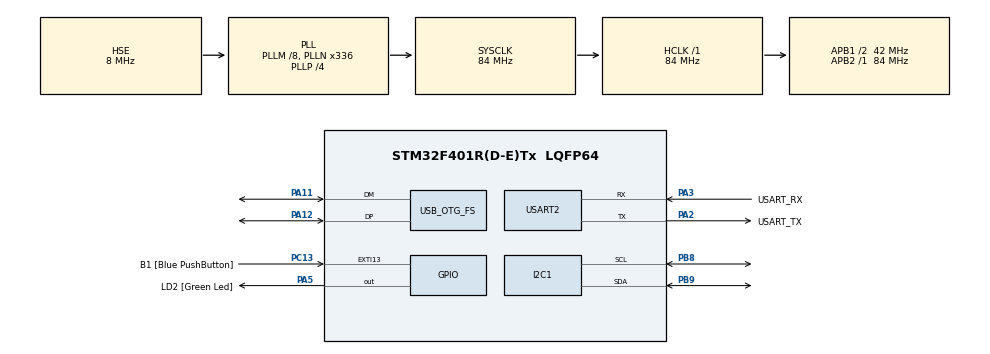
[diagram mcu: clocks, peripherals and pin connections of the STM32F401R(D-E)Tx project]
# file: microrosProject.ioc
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Dma.Request0=USART2_RX
Dma.Request1=USART2_TX
Dma.USART2_RX.0.Direction=DMA_PERIPH_TO_MEMORY
Dma.USART2_RX.0.FIFOMode=DMA_FIFOMODE_DISABLE
Dma.USART2_RX.0.Instance=DMA1_Stream5
Dma.USART2_RX.0.MemDataAlignment=DMA_MDATAALIGN_BYTE
Dma.USART2_RX.0.MemInc=DMA_MINC_ENABLE
Dma.USART2_RX.0.Mode=DMA_CIRCULAR
Dma.USART2_RX.0.PeriphDataAlignment=DMA_PDATAALIGN_BYTE
Dma.USART2_RX.0.PeriphInc=DMA_PINC_DISABLE
Dma.USART2_RX.0.Priority=DMA_PRIORITY_VERY_HIGH
Dma.USART2_TX.1.Direction=DMA_MEMORY_TO_PERIPH
Dma.USART2_TX.1.FIFOMode=DMA_FIFOMODE_DISABLE
Dma.USART2_TX.1.Instance=DMA1_Stream6
Dma.USART2_TX.1.MemDataAlignment=DMA_MDATAALIGN_BYTE
Dma.USART2_TX.1.MemInc=DMA_MINC_ENABLE
Dma.USART2_TX.1.Mode=DMA_NORMAL
Dma.USART2_TX.1.PeriphDataAlignment=DMA_PDATAALIGN_BYTE
Dma.USART2_TX.1.PeriphInc=DMA_PINC_DISABLE
Dma.USART2_TX.1.Priority=DMA_PRIORITY_VERY_HIGH
FREERTOS.Tasks01=defaultTask,24,128,StartDefaultTask,Default,NULL,Static,defaultTaskBuffer,defaultTaskControlBlock
FREERTOS.configCHECK_FOR_STACK_OVERFLOW=2
FREERTOS.configTOTAL_HEAP_SIZE=25000
FREERTOS.configUSE_MALLOC_FAILED_HOOK=1
Mcu.Family=STM32F4
Mcu.Name=STM32F401R(D-E)Tx
Mcu.Package=LQFP64
NVIC.DMA1_Stream5_IRQn=true\:5\:0\:false\:false\:true\:true\:false\:true\:true
NVIC.DMA1_Stream6_IRQn=true\:5\:0\:false\:false\:true\:true\:false\:true\:true
NVIC.PriorityGroup=NVIC_PRIORITYGROUP_4
NVIC.TIM1_UP_TIM10_IRQn=true\:15\:0\:false\:false\:true\:false\:false\:true\:true
NVIC.TimeBase=TIM1_UP_TIM10_IRQn
NVIC.TimeBaseIP=TIM1
NVIC.USART2_IRQn=true\:5\:0\:false\:false\:true\:true\:true\:true\:true
PA11.Mode=Device_Only
PA11.Signal=USB_OTG_FS_DM
PA12.Mode=Device_Only
PA12.Signal=USB_OTG_FS_DP
PA13.GPIO_Label=TMS
PA13.Mode=Serial_Wire
PA13.Signal=SYS_JTMS-SWDIO
PA14.GPIO_Label=TCK
PA14.Mode=Serial_Wire
PA14.Signal=SYS_JTCK-SWCLK
PA2.GPIO_Label=USART_TX
PA2.GPIO_Mode=GPIO_MODE_AF_PP
PA2.GPIO_PuPd=GPIO_NOPULL
PA2.GPIO_Speed=GPIO_SPEED_FREQ_LOW
PA2.Mode=Asynchronous
PA2.Signal=USART2_TX
PA3.GPIO_Label=USART_RX
PA3.GPIO_Mode=GPIO_MODE_AF_PP
PA3.GPIO_PuPd=GPIO_NOPULL
PA3.GPIO_Speed=GPIO_SPEED_FREQ_LOW
PA3.Mode=Asynchronous
PA3.Signal=USART2_RX
PA5.GPIO_Label=LD2 [Green Led]
PA5.GPIO_Mode=GPIO_MODE_OUTPUT_PP
PA5.GPIO_PuPd=GPIO_NOPULL
PA5.GPIO_Speed=GPIO_SPEED_FREQ_LOW
PA5.Signal=GPIO_Output
PB3.GPIO_Label=SWO
PB3.Signal=SYS_JTDO-SWO
PB8.Mode=I2C
PB8.Signal=I2C1_SCL
PB9.Mode=I2C
PB9.Signal=I2C1_SDA
PC13-ANTI_TAMP.GPIO_Label=B1 [Blue PushButton]
PC13-ANTI_TAMP.GPIO_ModeDefaultEXTI=GPIO_MODE_IT_FALLING
PC13-ANTI_TAMP.GPIO_PuPd=GPIO_NOPULL
PC13-ANTI_TAMP.Signal=GPXTI13
PC14-OSC32_IN.Mode=LSE-External-Oscillator
PC14-OSC32_IN.Signal=RCC_OSC32_IN
PC15-OSC32_OUT.Mode=LSE-External-Oscillator
PC15-OSC32_OUT.Signal=RCC_OSC32_OUT
PH0\ -\ OSC_IN.Mode=HSE-External-Oscillator
PH0\ -\ OSC_IN.Signal=RCC_OSC_IN
PH1\ -\ OSC_OUT.Mode=HSE-External-Oscillator
PH1\ -\ OSC_OUT.Signal=RCC_OSC_OUT
ProjectManager.HeapSize=0x200
ProjectManager.StackSize=0x400
ProjectManager.TargetToolchain=STM32CubeIDE
RCC.48MHZClocksFreq_Value=48000000
RCC.AHBFreq_Value=84000000
RCC.APB1CLKDivider=RCC_HCLK_DIV2
RCC.APB1Freq_Value=42000000
RCC.APB1TimFreq_Value=84000000
RCC.APB2Freq_Value=84000000
RCC.APB2TimFreq_Value=84000000
RCC.CortexFreq_Value=84000000
RCC.HCLKFreq_Value=84000000
RCC.HSE_VALUE=8000000
RCC.HSI_VALUE=16000000
RCC.PLLM=8
RCC.PLLN=336
RCC.PLLP=RCC_PLLP_DIV4
RCC.PLLQ=7
RCC.SYSCLKFreq_VALUE=84000000
RCC.SYSCLKSource=RCC_SYSCLKSOURCE_PLLCLK
RCC.VCOOutputFreq_Value=336000000
USART2.VirtualMode=VM_ASYNC
USB_OTG_FS.VirtualMode=Device_Only
VP_FREERTOS_VS_CMSIS_V2.Mode=CMSIS_V2
VP_SYS_VS_tim1.Mode=TIM1
board=NUCLEO-F401RE

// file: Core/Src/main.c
/* USER CODE BEGIN Header */
/**
  ****************************************************************************
  * @file           : main.c
  * @brief          : Nucleo-F401RE / micro-ROS serie sur USART2 (VCP ST-Link)
  *
  * Ce fichier ne contient AUCUNE logique micro-ROS ni aucune definition de
  * tache. Tout cela vit dans Core/Src/freertos.c, conformement a la
  * generation CubeMX "FreeRTOS dans des fichiers separes".
  *
  * REGENERATION .ioc : ce fichier est deja 100% stock CubeMX (aucun code
  * personnalise en dehors des balises "USER CODE BEGIN/END"). On peut donc
  * regenerer depuis le .ioc sans crainte : SystemClock_Config(),
  * MX_USART2_UART_Init(), MX_DMA_Init() et MX_GPIO_Init() sont recrees a
  * l'identique par CubeMX a partir de la configuration du projet, et les
  * blocs USER CODE (actuellement vides ici) sont toujours preserves.
  *
  * Fichiers fournis par micro_ros_stm32cubemx_utils/extra_sources, deja
  * presents dans Core/Src et A NE PAS redupliquer ici :
  *   - dma_transport.c        -> cubemx_transport_open/close/write/read
  *   - microros_allocators.c  -> microros_allocate/deallocate/...
  *   - microros_time.c        -> clock_gettime
  *   - custom_memory_manager.c
  ****************************************************************************
  */
/* USER CODE END Header */
#include "main.h"
#include "cmsis_os.h"
#include "dma.h"
#include "i2c.h"
#include "usart.h"
#include "usb_otg.h"
#include "gpio.h"

/* USER CODE BEGIN Includes */
/* Aucun include supplementaire necessaire ici : la logique applicative et
 * micro-ROS est entierement dans freertos.c. Garder ce fichier minimal. */
/* USER CODE END Includes */

/* USER CODE BEGIN PV */
/* Rien ici volontairement : huart2 est deja extern-declare et utilise
 * directement dans freertos.c (rmw_uros_set_custom_transport). */
/* USER CODE END PV */

void SystemClock_Config(void);
void MX_FREERTOS_Init(void);

int main(void)
{

  /* MCU Configuration--------------------------------------------------------*/

  /* Reset of all peripherals, Initializes the Flash interface and the Systick. */
  HAL_Init();

  /* Configure the system clock */
  SystemClock_Config();

  /* Initialize all configured peripherals */
  MX_GPIO_Init();
  MX_DMA_Init();
  MX_USART2_UART_Init();
  MX_USB_OTG_FS_PCD_Init();
  MX_I2C1_Init();

  /* Init scheduler */
  osKernelInitialize();

  /* Call init function for freertos objects (in cmsis_os2.c) */
  MX_FREERTOS_Init();

  /* Start scheduler */
  osKernelStart();

  /* We should never get here as control is now taken by the scheduler */

  /* Infinite loop */
  while (1)
  {

  }
}

void SystemClock_Config(void)
{
  RCC_OscInitTypeDef RCC_OscInitStruct = {0};
  RCC_ClkInitTypeDef RCC_ClkInitStruct = {0};

  /** Configure the main internal regulator output voltage
  */
  __HAL_RCC_PWR_CLK_ENABLE();
  __HAL_PWR_VOLTAGESCALING_CONFIG(PWR_REGULATOR_VOLTAGE_SCALE2);

  /** Initializes the RCC Oscillators according to the specified parameters
  * in the RCC_OscInitTypeDef structure.
  */
  RCC_OscInitStruct.OscillatorType = RCC_OSCILLATORTYPE_HSE;
  RCC_OscInitStruct.HSEState = RCC_HSE_ON;
  RCC_OscInitStruct.PLL.PLLState = RCC_PLL_ON;
  RCC_OscInitStruct.PLL.PLLSource = RCC_PLLSOURCE_HSE;
  RCC_OscInitStruct.PLL.PLLM = 8;
  RCC_OscInitStruct.PLL.PLLN = 336;
  RCC_OscInitStruct.PLL.PLLP = RCC_PLLP_DIV4;
  RCC_OscInitStruct.PLL.PLLQ = 7;
  if (HAL_RCC_OscConfig(&RCC_OscInitStruct) != HAL_OK)
  {
    Error_Handler();
  }

  /** Initializes the CPU, AHB and APB buses clocks
  */
  RCC_ClkInitStruct.ClockType = RCC_CLOCKTYPE_HCLK|RCC_CLOCKTYPE_SYSCLK
                              |RCC_CLOCKTYPE_PCLK1|RCC_CLOCKTYPE_PCLK2;
  RCC_ClkInitStruct.SYSCLKSource = RCC_SYSCLKSOURCE_PLLCLK;
  RCC_ClkInitStruct.AHBCLKDivider = RCC_SYSCLK_DIV1;
  RCC_ClkInitStruct.APB1CLKDivider = RCC_HCLK_DIV2;
  RCC_ClkInitStruct.APB2CLKDivider = RCC_HCLK_DIV1;

  if (HAL_RCC_ClockConfig(&RCC_ClkInitStruct, FLASH_LATENCY_2) != HAL_OK)
  {
    Error_Handler();
  }
}

void HAL_TIM_PeriodElapsedCallback(TIM_HandleTypeDef *htim)
{
  if (htim->Instance == TIM1) {
    HAL_IncTick();
  }
}

void Error_Handler(void)
{
  /* USER CODE BEGIN Error_Handler_Debug */
  /* LD2 clignote tres lentement (~1 s) : erreur HAL (horloge ou UART) */
  __disable_irq();
  while (1)
  {
    HAL_GPIO_TogglePin(LD2_GPIO_Port, LD2_Pin);
    for (volatile uint32_t i = 0; i < 8400000UL; i++) { __NOP(); }
  }
  /* USER CODE END Error_Handler_Debug */
}

#ifdef  USE_FULL_ASSERT
/**
  * @brief  Reports the name of the source file and the source line number
  *         where the assert_param error has occurred.
  * @param  file: pointer to the source file name
  * @param  line: assert_param error line source number
  * @retval None
  */
void assert_failed(uint8_t *file, uint32_t line)
{
  /* USER CODE BEGIN 6 */
  (void)file;
  (void)line;
  /* USER CODE END 6 */
}
#endif /* USE_FULL_ASSERT */

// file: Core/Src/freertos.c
/* USER CODE BEGIN Header */
/**
  ****************************************************************************
  * @file           : freertos.c
  * @brief          : Taches FreeRTOS + application micro-ROS ping-pong
  *
  * Toute la logique micro-ROS est ici. main.c reste purement CubeMX.
  *
  * REGENERATION .ioc : ce fichier est "regeneration-safe" tant que tout code
  * ajoute vit exclusivement entre des paires "USER CODE BEGIN xxx" /
  * "USER CODE END xxx". ATTENTION : la version du template FreeRTOS utilisee
  * ici (verifiee apres regeneration le 19/08/2026) NE POSSEDE PAS de tag
  * "ThreadAttributes" ni de tag "1". Les tags reellement disponibles et
  * utilises sont : Includes, PTD, PD, PM, Variables, FunctionPrototypes,
  * 4, 5, RTOS_MUTEX, RTOS_SEMAPHORES, RTOS_TIMERS, RTOS_QUEUES,
  * RTOS_THREADS, RTOS_EVENTS, Header_StartDefaultTask, StartDefaultTask,
  * Application. En consequence :
  *   - la definition statique de la tache micro-ROS (handle/buffer/
  *     control block/attributes) vit dans "Variables" (pas "ThreadAttributes")
  *   - fatal_blink(), RCCHECK/RCSOFTCHECK et ping_callback() vivent en tete
  *     de "Application" (pas de tag "1" disponible)
  * Si une future regeneration fait REapparaitre ces tags (changement de
  * version CubeMX/CubeIDE), il est possible (mais pas obligatoire) de les
  * y deplacer ; ce n'est pas necessaire pour que le code fonctionne.
  *
  * Dependances deja presentes dans Core/Src (extra_sources), NE PAS
  * redefinir les symboles suivants :
  *   dma_transport.c        -> cubemx_transport_open/close/write/read
  *   microros_allocators.c  -> microros_allocate/deallocate/reallocate/
  *                             zero_allocate
  *   microros_time.c        -> clock_gettime
  *
  * Prerequis .ioc (a re-verifier apres toute regeneration) :
  *   - Timebase Source = TIM1 (pas SysTick)
  *   - USART2 DMA RX = DMA1 Stream5, mode CIRCULAR
  *   - USART2 DMA TX = DMA1 Stream6, mode NORMAL
  *   - USART2 global interrupt = Enabled
  *   - FREERTOS : TOTAL_HEAP_SIZE = 25000, CMSIS_V2
  *   - Project Manager -> Code Generator -> "Generate peripheral
  *     initialization as a pair of '.c/.h' files" = COCHE (sinon
  *     MX_FREERTOS_Init() disparait et tout est reinjecte dans main.c)
  ****************************************************************************
  */
/* USER CODE END Header */

#include "FreeRTOS.h"
#include "task.h"
#include "main.h"
#include "cmsis_os.h"
#include "bno055.h"

/* USER CODE BEGIN Includes */

#include <rcl/rcl.h>
#include <rcl/error_handling.h>
#include <rclc/rclc.h>
#include <rclc/executor.h>
#include <rcutils/allocator.h>
#include <std_msgs/msg/int32.h>
#include <rmw_microros/rmw_microros.h>
#include <sensor_msgs/msg/imu.h>
#include <uxr/client/transport.h>
/* USER CODE END Includes */

typedef StaticTask_t osStaticThreadDef_t;

/* USER CODE BEGIN PD */

/* ---- Codes de clignotement de LD2 (PA5) : diagnostic sans debugger ---- */
#define BLINK_RCL_ERROR       100u   /* rapide      : appel rcl/rclc en echec */
#define BLINK_MALLOC_FAILED   500u   /* lent        : heap FreeRTOS epuise    */
#define BLINK_STACK_OVERFLOW   50u   /* tres rapide : stack overflow          */

/* ---- Identite du noeud et des topics ping/pong ---- */
#define PINGPONG_NODE_NAME     "stm32_pingpong_node"
#define TOPIC_PING              "ping"
#define TOPIC_PONG              "pong"

/* ---- Cadence de la boucle micro-ROS ---- */
#define MICROROS_SPIN_TIMEOUT_MS   100u
#define MICROROS_LOOP_DELAY_MS      10u
#define MICROROS_AGENT_RETRY_MS    200u

/* USER CODE END PD */

/* USER CODE BEGIN Variables */

extern UART_HandleTypeDef huart2;
extern I2C_HandleTypeDef hi2c1;
/* ---- Transport serie fourni par dma_transport.c ---- */
extern bool   cubemx_transport_open(struct uxrCustomTransport * transport);
extern bool   cubemx_transport_close(struct uxrCustomTransport * transport);
extern size_t cubemx_transport_write(struct uxrCustomTransport * transport,
                                     const uint8_t * buf, size_t len, uint8_t * err);
extern size_t cubemx_transport_read(struct uxrCustomTransport * transport,
                                    uint8_t * buf, size_t len, int timeout, uint8_t * err);

/* ---- Allocateurs fournis par microros_allocators.c ---- */
extern void * microros_allocate(size_t size, void * state);
extern void   microros_deallocate(void * pointer, void * state);
extern void * microros_reallocate(void * pointer, size_t size, void * state);
extern void * microros_zero_allocate(size_t number_of_elements,
                                     size_t size_of_element, void * state);

/* ---- Entites micro-ROS : topic ping/pong ---- */
static rcl_publisher_t      pong_publisher;
static rcl_subscription_t   ping_subscriber;
static std_msgs__msg__Int32 pong_msg;
static std_msgs__msg__Int32 ping_msg;

/* ---- Entites micro-ROS : topic imu_msg ---- */
static rcl_publisher_t imu_publisher;
static sensor_msgs__msg__Imu imu_msg;
static rcl_timer_t imu_timer;
static BNO055_Data_t bno_data;

/* ---- Tache micro-ROS : pas de tag "ThreadAttributes" dans ce template,
 * donc definie ici, dans "Variables". Stack STATIQUE de 16 Ko (4096 mots),
 * en .bss et non depuis le heap FreeRTOS, pour laisser tout le heap aux
 * allocations internes de micro-ROS.                                        */
osThreadId_t microrosTaskHandle;
uint32_t microrosTaskBuffer[ 4096 ];
osStaticThreadDef_t microrosTaskControlBlock;
const osThreadAttr_t microrosTask_attributes = {
  .name = "microrosTask",
  .cb_mem = &microrosTaskControlBlock,
  .cb_size = sizeof(microrosTaskControlBlock),
  .stack_mem = &microrosTaskBuffer[0],
  .stack_size = sizeof(microrosTaskBuffer),
  .priority = (osPriority_t) osPriorityNormal,
};

/* USER CODE END Variables */
/* Definitions for defaultTask */
osThreadId_t defaultTaskHandle;
uint32_t defaultTaskBuffer[ 128 ];
osStaticThreadDef_t defaultTaskControlBlock;
const osThreadAttr_t defaultTask_attributes = {
  .name = "defaultTask",
  .cb_mem = &defaultTaskControlBlock,
  .cb_size = sizeof(defaultTaskControlBlock),
  .stack_mem = &defaultTaskBuffer[0],
  .stack_size = sizeof(defaultTaskBuffer),
  .priority = (osPriority_t) osPriorityNormal,
};

/* USER CODE BEGIN FunctionPrototypes */

void MicroROSTask(void *argument);

static void fatal_blink(uint32_t period_ms);
static void ping_callback(const void * msgin);
static void microros_wait_for_agent(void);
static void microros_entities_init(rclc_support_t *support,
                                    rcl_node_t *node,
                                    rclc_executor_t *executor,
                                    rcl_allocator_t *allocator);
void imu_timer_callback(rcl_timer_t *timer, int64_t last_call_time);
/* USER CODE END FunctionPrototypes */

void StartDefaultTask(void *argument);

void MX_FREERTOS_Init(void); /* (MISRA C 2004 rule 8.1) */

/* Hook prototypes */
void vApplicationStackOverflowHook(xTaskHandle xTask, signed char *pcTaskName);
void vApplicationMallocFailedHook(void);

/* USER CODE BEGIN 4 */
void vApplicationMallocFailedHook(void)
{
    fatal_blink(BLINK_MALLOC_FAILED);
}
/* USER CODE END 4 */

/* USER CODE BEGIN 5 */
void vApplicationStackOverflowHook(xTaskHandle xTask, signed char *pcTaskName)
{
    (void)xTask;
    (void)pcTaskName;
    fatal_blink(BLINK_STACK_OVERFLOW);
}
/* USER CODE END 5 */

void MX_FREERTOS_Init(void) {

  /* Create the thread(s) */
  /* creation of defaultTask */
  defaultTaskHandle = osThreadNew(StartDefaultTask, NULL, &defaultTask_attributes);

  /* USER CODE BEGIN RTOS_THREADS */
  microrosTaskHandle = osThreadNew(MicroROSTask, NULL, &microrosTask_attributes);
  /* USER CODE END RTOS_THREADS */

}

void StartDefaultTask(void *argument)
{
  for(;;)
  {
    osDelay(1);
  }
}

/* USER CODE BEGIN Application */

/* ==========================================================================
 *  Signalisation d'erreur + macros de controle rcl/rclc + callback ping.
 *  Places ici (pas de tag "1" dans ce template) mais definis AVANT leur
 *  utilisation par microros_entities_init()/MicroROSTask() plus bas dans
 *  ce meme bloc "Application".
 * ========================================================================== */

/* LD2 clignote a une frequence identifiant la panne. Interruptions coupees,
 * donc pas de HAL_Delay() (uwTick serait fige) : boucle d'attente calibree
 * pour 84 MHz.                                                              */
static void fatal_blink(uint32_t period_ms)
{
    __disable_irq();
    for (;;)
    {
        HAL_GPIO_TogglePin(LD2_GPIO_Port, LD2_Pin);
        for (volatile uint32_t i = 0; i < period_ms * 8400UL; i++)
        {
            __NOP();
        }
    }
}

#define RCCHECK(fn)     { rcl_ret_t _rc = (fn); if (_rc != RCL_RET_OK) { fatal_blink(BLINK_RCL_ERROR); } }
#define RCSOFTCHECK(fn) { rcl_ret_t _rc = (fn); (void)_rc; }

/* ---- Callback de souscription : ping -> pong (valeur + 1) ---- */
static void ping_callback(const void * msgin)
{
    const std_msgs__msg__Int32 * incoming = (const std_msgs__msg__Int32 *)msgin;
    pong_msg.data = incoming->data + 1;
    RCSOFTCHECK(rcl_publish(&pong_publisher, &pong_msg, NULL));
    HAL_GPIO_TogglePin(LD2_GPIO_Port, LD2_Pin);   /* preuve visuelle de trafic */
}

/* ==========================================================================
 *  Helpers d'initialisation micro-ROS (appeles une seule fois par
 *  MicroROSTask, dans l'ordre). Separes pour lisibilite uniquement : le
 *  comportement est strictement identique a l'implementation d'origine.
 * ========================================================================== */

/* Bloque (osDelay) jusqu'a ce que l'agent micro-ROS reponde sur le lien
 * serie. Necessaire avant tout appel rcl/rclc.                              */
static void microros_wait_for_agent(void)
{
    while (rmw_uros_ping_agent(100, 1) != RMW_RET_OK)
    {
        osDelay(MICROROS_AGENT_RETRY_MS);
    }
}

/* Cree le support/contexte, le noeud, le publisher /pong, le subscriber
 * /ping, puis l'executor qui les lie. Bloque via fatal_blink() si une
 * etape rcl/rclc echoue (voir RCCHECK).                                     */
static void microros_entities_init(rclc_support_t *support,
                                    rcl_node_t *node,
                                    rclc_executor_t *executor,
                                    rcl_allocator_t *allocator)
{
    RCCHECK(rclc_support_init(support, 0, NULL, allocator));
    RCCHECK(rclc_node_init_default(node, PINGPONG_NODE_NAME, "", support));
    RCCHECK(rclc_publisher_init_default(&pong_publisher, node,
        ROSIDL_GET_MSG_TYPE_SUPPORT(std_msgs, msg, Int32), TOPIC_PONG));
    RCCHECK(rclc_subscription_init_default(&ping_subscriber, node,
        ROSIDL_GET_MSG_TYPE_SUPPORT(std_msgs, msg, Int32), TOPIC_PING));
    RCCHECK(rclc_executor_init(executor, &support->context, 2, allocator));
    RCCHECK(rclc_executor_add_subscription(
        executor, &ping_subscriber, &ping_msg, &ping_callback, ON_NEW_DATA));
}

/* ==========================================================================
 *  Tache micro-ROS : node stm32_pingpong_node
 *    subscribe  /ping  (std_msgs/Int32)
 *    publish    /pong  (std_msgs/Int32)  = ping + 1
 * ========================================================================== */
void MicroROSTask(void *argument)
{
    (void)argument;

    rclc_support_t  support;
    rcl_node_t      node;
    rclc_executor_t executor;
    rcl_allocator_t allocator = rcl_get_default_allocator();
    /* 1. Transport serie DMA. Le 2e argument DOIT etre &huart2 :
     *    dma_transport.c lit transport->args pour retrouver l'UART.        */
    rmw_uros_set_custom_transport(
        true,                     /* framing = true en serie */
        (void *) &huart2,
        cubemx_transport_open,
        cubemx_transport_close,
        cubemx_transport_write,
        cubemx_transport_read);

    /* 2. Allocateurs FreeRTOS, AVANT tout appel rcl/rclc.
     *    Sans ca micro-ROS utilise malloc() -> heap newlib (512 octets) et
     *    la creation du subscriber echoue silencieusement.                 */
    rcl_allocator_t freeRTOS_allocator = rcutils_get_zero_initialized_allocator();
    freeRTOS_allocator.allocate      = microros_allocate;
    freeRTOS_allocator.deallocate    = microros_deallocate;
    freeRTOS_allocator.reallocate    = microros_reallocate;
    freeRTOS_allocator.zero_allocate = microros_zero_allocate;

    if (!rcutils_set_default_allocator(&freeRTOS_allocator))
    {
        fatal_blink(BLINK_RCL_ERROR);
    }

    /* 3. Attendre l'agent avant d'initialiser quoi que ce soit */
    microros_wait_for_agent();

    /* 4-7. Support / noeud / publisher "pong" / subscriber "ping" / executor */
    microros_entities_init(&support, &node, &executor, &allocator);

    pong_msg.data = 0;

    /* --- BNO055 hardware init --- */
    if (!BNO055_Init(&hi2c1)) {
        fatal_blink(BLINK_RCL_ERROR);   // reuse your existing fault signal, consistent with RCCHECK's behavior
    }

    /* --- Fields that never change between publishes, set once here --- */
    rosidl_runtime_c__String__assign(&imu_msg.header.frame_id, "imu_link");
    imu_msg.orientation_covariance[0] = -1.0;
    imu_msg.angular_velocity_covariance[0] = -1.0;
    imu_msg.linear_acceleration_covariance[0] = -1.0;

    /* --- IMU publisher + timer, added to the SAME node/executor --- */
    RCCHECK(rclc_publisher_init_default(
        &imu_publisher, &node,
        ROSIDL_GET_MSG_TYPE_SUPPORT(sensor_msgs, msg, Imu), "imu/data"));

    RCCHECK(rclc_timer_init_default(
        &imu_timer, &support, RCL_MS_TO_NS(50), imu_timer_callback));

    RCCHECK(rclc_executor_add_timer(&executor, &imu_timer));

    /* 8-9. Boucle d'execution : spin non bloquant + cadence de tache */
    for (;;)
    {
        rclc_executor_spin_some(&executor, RCL_MS_TO_NS(MICROROS_SPIN_TIMEOUT_MS));
        osDelay(MICROROS_LOOP_DELAY_MS);
    }
}

// Called automatically by the executor every time imu_timer fires.
// Reads the sensor and publishes one Imu message, or does nothing on
// a failed read (previous message values are simply not overwritten).
void imu_timer_callback(rcl_timer_t *timer, int64_t last_call_time)
{
    (void)last_call_time;      // Unused parameter - silences compiler warning
    if (timer == NULL) return; // Defensive check; rclc can call back with NULL in some error paths

    if (BNO055_ReadData(&hi2c1, &bno_data)) {
        // Copy orientation quaternion into the message
        imu_msg.orientation.w = bno_data.qw;
        imu_msg.orientation.x = bno_data.qx;
        imu_msg.orientation.y = bno_data.qy;
        imu_msg.orientation.z = bno_data.qz;

        // Copy angular velocity (rad/s) into the message
        imu_msg.angular_velocity.x = bno_data.gx;
        imu_msg.angular_velocity.y = bno_data.gy;
        imu_msg.angular_velocity.z = bno_data.gz;

        // Copy linear acceleration (m/s^2, gravity already removed by the chip)
        imu_msg.linear_acceleration.x = bno_data.ax;
        imu_msg.linear_acceleration.y = bno_data.ay;
        imu_msg.linear_acceleration.z = bno_data.az;

        // Publish immediately - rcl_publish just hands the message to the
        // transport layer, it doesn't block waiting for a subscriber.
        rcl_publish(&imu_publisher, &imu_msg, NULL);
    }
    // If BNO055_ReadData returned false, we simply skip this cycle -
    // no message is sent, and we'll try again on the next timer tick.
}

/* USER CODE END Application */
